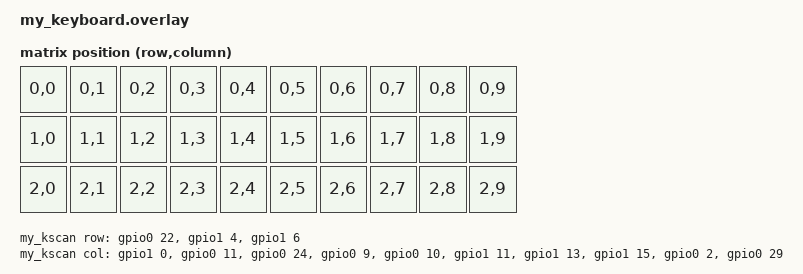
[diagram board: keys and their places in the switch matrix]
#include <dt-bindings/zmk/matrix_transform.h>

/ {
    chosen {
        zmk,kscan = &my_kscan;
        zmk,physical-layout = &physical_layout0;
    };

    leds {
        compatible = "gpio-leds";
        blue_led: led_0 {
            gpios = <&gpio0 15 GPIO_ACTIVE_HIGH>;
            label = "Blue LED";
            status = "disabled";
        };
    };

    // 首先定义键位节点 - 为30个键（10列×3行）
    kp_0_0: key_position_0_0 { row = <0>; column = <0>; };
    kp_0_1: key_position_0_1 { row = <0>; column = <1>; };
    kp_0_2: key_position_0_2 { row = <0>; column = <2>; };
    kp_0_3: key_position_0_3 { row = <0>; column = <3>; };
    kp_0_4: key_position_0_4 { row = <0>; column = <4>; };
    kp_0_5: key_position_0_5 { row = <0>; column = <5>; };
    kp_0_6: key_position_0_6 { row = <0>; column = <6>; };
    kp_0_7: key_position_0_7 { row = <0>; column = <7>; };
    kp_0_8: key_position_0_8 { row = <0>; column = <8>; };
    kp_0_9: key_position_0_9 { row = <0>; column = <9>; };

    kp_1_0: key_position_1_0 { row = <1>; column = <0>; };
    kp_1_1: key_position_1_1 { row = <1>; column = <1>; };
    kp_1_2: key_position_1_2 { row = <1>; column = <2>; };
    kp_1_3: key_position_1_3 { row = <1>; column = <3>; };
    kp_1_4: key_position_1_4 { row = <1>; column = <4>; };
    kp_1_5: key_position_1_5 { row = <1>; column = <5>; };
    kp_1_6: key_position_1_6 { row = <1>; column = <6>; };
    kp_1_7: key_position_1_7 { row = <1>; column = <7>; };
    kp_1_8: key_position_1_8 { row = <1>; column = <8>; };
    kp_1_9: key_position_1_9 { row = <1>; column = <9>; };

    kp_2_0: key_position_2_0 { row = <2>; column = <0>; };
    kp_2_1: key_position_2_1 { row = <2>; column = <1>; };
    kp_2_2: key_position_2_2 { row = <2>; column = <2>; };
    kp_2_3: key_position_2_3 { row = <2>; column = <3>; };
    kp_2_4: key_position_2_4 { row = <2>; column = <4>; };
    kp_2_5: key_position_2_5 { row = <2>; column = <5>; };
    kp_2_6: key_position_2_6 { row = <2>; column = <6>; };
    kp_2_7: key_position_2_7 { row = <2>; column = <7>; };
    kp_2_8: key_position_2_8 { row = <2>; column = <8>; };
    kp_2_9: key_position_2_9 { row = <2>; column = <9>; };

    physical_layout0: physical_layout_0 {
        compatible = "zmk,physical-layout";
        display-name = "Default Layout";
        kscan = <&my_kscan>;
        transform = <&default_transform>;
        
        // 添加 keys 属性 - 这是 ZMK Studio 要求的
        keys = <
            &kp_0_0 &kp_0_1 &kp_0_2 &kp_0_3 &kp_0_4 &kp_0_5 &kp_0_6 &kp_0_7 &kp_0_8 &kp_0_9
            &kp_1_0 &kp_1_1 &kp_1_2 &kp_1_3 &kp_1_4 &kp_1_5 &kp_1_6 &kp_1_7 &kp_1_8 &kp_1_9
            &kp_2_0 &kp_2_1 &kp_2_2 &kp_2_3 &kp_2_4 &kp_2_5 &kp_2_6 &kp_2_7 &kp_2_8 &kp_2_9
        >;
    };
    
    my_kscan: kscan0 {
        compatible = "zmk,kscan-gpio-matrix";
        diode-direction = "col2row";
        wakeup-source;

        // 行GPIO配置
        row-gpios = <&gpio0 22 (GPIO_ACTIVE_HIGH | GPIO_PULL_DOWN)>,
                    <&gpio1 4 (GPIO_ACTIVE_HIGH | GPIO_PULL_DOWN)>,
                    <&gpio1 6 (GPIO_ACTIVE_HIGH | GPIO_PULL_DOWN)>;
                   
        // 列GPIO配置
        col-gpios = <&gpio1 0 GPIO_ACTIVE_HIGH>,
                    <&gpio0 11 GPIO_ACTIVE_HIGH>,
                    <&gpio0 24 GPIO_ACTIVE_HIGH>,
                    <&gpio0 9 GPIO_ACTIVE_HIGH>,
                    <&gpio0 10 GPIO_ACTIVE_HIGH>,
                    <&gpio1 11 GPIO_ACTIVE_HIGH>,
                    <&gpio1 13 GPIO_ACTIVE_HIGH>,
                    <&gpio1 15 GPIO_ACTIVE_HIGH>,
                    <&gpio0 2 GPIO_ACTIVE_HIGH>,
                    <&gpio0 29 GPIO_ACTIVE_HIGH>;
    };
    
    default_transform: keymap_transform0 {
        compatible = "zmk,matrix-transform";
        columns = <10>;
        rows = <3>;
        map = <
            RC(0,0) RC(0,1) RC(0,2) RC(0,3) RC(0,4) RC(0,5) RC(0,6) RC(0,7) RC(0,8) RC(0,9)
            RC(1,0) RC(1,1) RC(1,2) RC(1,3) RC(1,4) RC(1,5) RC(1,6) RC(1,7) RC(1,8) RC(1,9)
            RC(2,0) RC(2,1) RC(2,2) RC(2,3) RC(2,4) RC(2,5) RC(2,6) RC(2,7) RC(2,8) RC(2,9)
        >;
    };
};
